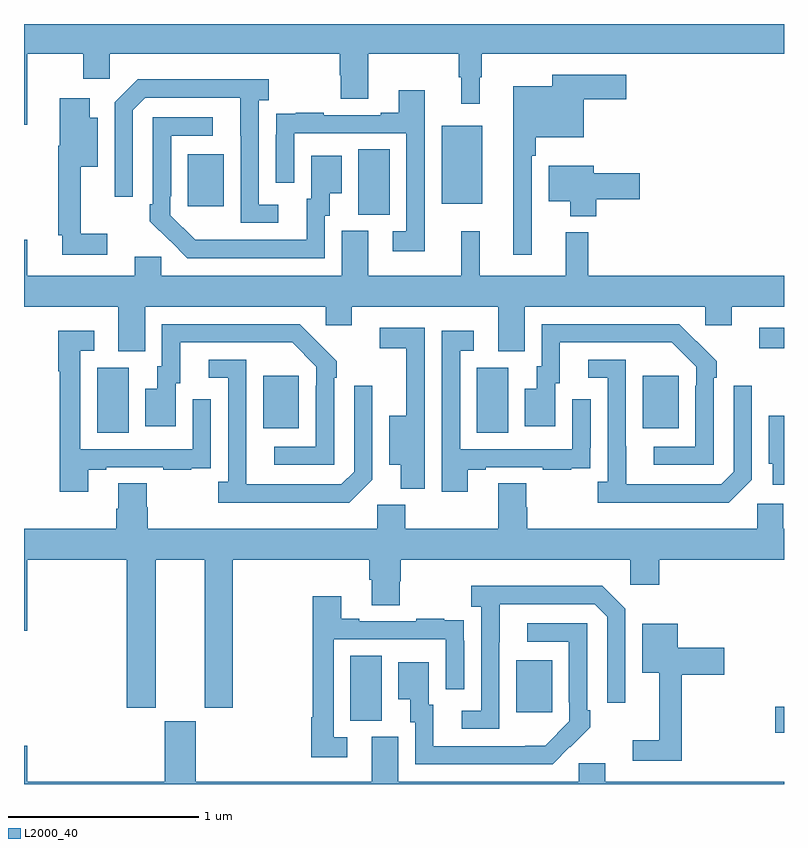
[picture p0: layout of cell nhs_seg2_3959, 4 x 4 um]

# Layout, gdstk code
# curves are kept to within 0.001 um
import gdstk
lib = gdstk.Library(unit=1e-6, precision=1e-09)
def R(c, l, rs):  # rectangles x0, y0, x1, y1
    for r in rs: c.add(gdstk.rectangle(r[:2], r[2:], *l))
def P(c, l, *ps):  # polygons
    for p in ps: c.add(gdstk.Polygon(p, *l))
L2000_40 = (2000, 40)

nhs_seg2_3959 = lib.new_cell('nhs_seg2_3959')
R(nhs_seg2_3959, L2000_40, [(324.954,636.071,325,636.206), (322.718,636.133,322.882,636.476), (323.591,636.177,323.779,636.451), (321.386,637.648,321.55,637.992), (323.384,637.648,323.548,637.992), (322.259,637.673,322.447,637.948), (324.257,637.673,324.445,637.948), (324.87,638.094,325,638.202), (322.76,638.797,322.924,639.14), (321.863,638.841,322.051,639.115), (323.198,638.855,323.413,639.265)])
P(nhs_seg2_3959, L2000_40, [(321.016,639.644),(321.311,639.644),(321.311,639.513),(321.45,639.513),(321.45,639.644),(322.661,639.644),(322.661,639.531),(322.666,639.531),(322.666,639.406),(322.813,639.406),(322.813,639.644),(323.289,639.644),(323.289,639.521),(323.3,639.521),(323.3,639.381),(323.398,639.381),(323.398,639.521),(323.41,639.521),(323.41,639.644),(325,639.644),(325,639.8),(321,639.8),(321,639.27),(321.016,639.27)],
  [(323.673,639.107),(323.693,639.107),(323.693,639.203),(323.947,639.203),(323.947,639.403),(324.169,639.403),(324.169,639.532),(323.78,639.532),(323.78,639.472),(323.576,639.472),(323.576,638.586),(323.673,638.586)],
  [(322.339,638.85),(322.236,638.85),(322.236,639.398),(322.288,639.398),(322.288,639.508),(321.598,639.508),(321.477,639.387),(321.477,638.892),(321.573,638.892),(321.573,639.345),(321.639,639.411),(322.139,639.411),(322.14,638.754),(322.339,638.754)],
  [(323.109,639.451),(322.973,639.451),(322.973,639.334),(322.877,639.334),(322.877,639.321),(322.577,639.321),(322.577,639.334),(322.429,639.334),(322.429,639.327),(322.327,639.327),(322.327,639.218),(322.326,639.218),(322.326,638.964),(322.422,638.964),(322.422,639.225),(323.013,639.225),(323.013,638.709),(322.941,638.709),(322.941,638.604),(323.109,638.604)],
  [(321.439,638.695),(321.299,638.695),(321.299,639.05),(321.388,639.05),(321.388,639.307),(321.346,639.307),(321.346,639.409),(321.188,639.409),(321.188,639.16),(321.181,639.16),(321.181,638.689),(321.2,638.689),(321.2,638.586),(321.439,638.586)],
  [(322.584,638.79),(322.609,638.79),(322.609,638.909),(322.672,638.909),(322.672,639.106),(322.511,639.106),(322.511,638.88),(322.487,638.88),(322.487,638.664),(321.9,638.665),(321.771,638.793),(321.771,638.893),(321.774,638.893),(321.774,639.213),(321.994,639.213),(321.994,639.309),(321.678,639.309),(321.678,638.851),(321.663,638.851),(321.663,638.763),(321.86,638.568),(322.584,638.568)],
  [(324.011,638.878),(324.241,638.878),(324.241,639.015),(323.998,639.015),(323.998,639.055),(323.762,639.055),(323.762,638.867),(323.876,638.867),(323.876,638.789),(324.011,638.789)],
  [(323.495,638.077),(323.635,638.077),(323.635,638.312),(324.585,638.312),(324.585,638.214),(324.724,638.214),(324.724,638.312),(325,638.312),(325,638.476),(323.969,638.476),(323.969,638.704),(323.852,638.704),(323.852,638.476),(323.399,638.476),(323.399,638.71),(323.3,638.71),(323.3,638.476),(322.813,638.476),(322.813,638.712),(322.673,638.712),(322.673,638.476),(321.723,638.476),(321.723,638.574),(321.584,638.574),(321.584,638.476),(321.016,638.476),(321.016,638.665),(321,638.665),(321,638.312),(321.497,638.312),(321.497,638.077),(321.637,638.077),(321.637,638.312),(322.587,638.312),(322.587,638.214),(322.726,638.214),(322.726,638.312),(323.495,638.312)],
  [(322.632,637.937),(322.647,637.937),(322.647,638.025),(322.45,638.22),(321.726,638.22),(321.726,637.998),(321.701,637.998),(321.701,637.879),(321.638,637.879),(321.638,637.683),(321.799,637.683),(321.799,637.908),(321.823,637.908),(321.823,638.124),(322.411,638.124),(322.539,637.995),(322.539,637.895),(322.536,637.895),(322.536,637.575),(322.317,637.575),(322.317,637.479),(322.632,637.479)],
  [(324.63,637.937),(324.645,637.937),(324.645,638.025),(324.448,638.22),(323.724,638.22),(323.724,637.998),(323.699,637.998),(323.699,637.879),(323.636,637.879),(323.636,637.683),(323.797,637.683),(323.797,637.908),(323.821,637.908),(323.821,638.124),(324.409,638.124),(324.537,637.995),(324.537,637.895),(324.534,637.895),(324.534,637.575),(324.315,637.575),(324.315,637.479),(324.63,637.479)],
  [(323.109,638.202),(322.872,638.202),(322.872,638.094),(323.012,638.094),(323.012,637.738),(322.922,637.738),(322.922,637.481),(322.982,637.481),(322.982,637.355),(323.109,637.355)],
  [(321.337,637.455),(321.433,637.455),(321.433,637.467),(321.733,637.467),(321.733,637.455),(321.881,637.455),(321.881,637.461),(321.983,637.461),(321.983,637.57),(321.984,637.57),(321.984,637.825),(321.888,637.825),(321.888,637.563),(321.297,637.563),(321.297,638.079),(321.37,638.079),(321.37,638.185),(321.181,638.185),(321.181,637.972),(321.189,637.972),(321.189,637.338),(321.337,637.338)],
  [(323.335,637.455),(323.431,637.455),(323.431,637.467),(323.731,637.467),(323.731,637.455),(323.879,637.455),(323.879,637.461),(323.981,637.461),(323.981,637.57),(323.982,637.57),(323.982,637.825),(323.886,637.825),(323.886,637.563),(323.295,637.563),(323.295,638.079),(323.368,638.079),(323.368,638.185),(323.199,638.185),(323.199,637.338),(323.335,637.338)],
  [(324.831,637.401),(324.831,637.897),(324.735,637.897),(324.735,637.443),(324.669,637.377),(324.169,637.377),(324.168,638.034),(323.97,638.034),(323.97,637.938),(324.072,637.938),(324.072,637.39),(324.021,637.39),(324.021,637.28),(324.71,637.28)],
  [(322.833,637.401),(322.833,637.897),(322.737,637.897),(322.737,637.443),(322.671,637.377),(322.171,637.377),(322.17,638.034),(321.972,638.034),(321.972,637.938),(322.074,637.938),(322.074,637.39),(322.023,637.39),(322.023,637.28),(322.712,637.28)],
  [(325,637.738),(324.92,637.738),(324.92,637.485),(324.941,637.485),(324.941,637.376),(325,637.376)],
  [(321.694,636.98),(321.95,636.98),(321.95,636.201),(322.098,636.201),(322.098,636.98),(322.817,636.98),(322.817,636.874),(322.829,636.874),(322.829,636.742),(322.977,636.742),(322.977,636.867),(322.982,636.867),(322.982,636.98),(324.192,636.98),(324.192,636.849),(324.344,636.849),(324.344,636.98),(325,636.98),(325,637.144),(324.997,637.144),(324.997,637.276),(324.858,637.276),(324.858,637.144),(323.648,637.144),(323.648,637.257),(323.643,637.257),(323.643,637.382),(323.495,637.382),(323.495,637.144),(323.007,637.144),(323.007,637.27),(322.86,637.27),(322.86,637.144),(321.65,637.144),(321.65,637.257),(321.645,637.257),(321.645,637.382),(321.497,637.382),(321.497,637.25),(321.485,637.25),(321.485,637.144),(321,637.144),(321,636.606),(321.016,636.606),(321.016,636.98),(321.542,636.98),(321.542,636.201),(321.694,636.201)],
  [(323.502,636.547),(323.503,636.747),(324.003,636.747),(324.069,636.681),(324.069,636.228),(324.165,636.228),(324.165,636.723),(324.044,636.844),(323.355,636.844),(323.355,636.734),(323.406,636.734),(323.406,636.186),(323.304,636.186),(323.304,636.09),(323.502,636.09)],
  [(322.702,636.045),(322.629,636.045),(322.629,636.561),(323.22,636.561),(323.22,636.3),(323.316,636.3),(323.316,636.554),(323.315,636.554),(323.315,636.663),(323.213,636.663),(323.213,636.67),(323.065,636.67),(323.065,636.657),(322.765,636.657),(322.765,636.67),(322.669,636.67),(322.669,636.787),(322.521,636.787),(322.521,636.152),(322.513,636.152),(322.513,635.94),(322.702,635.94)],
  [(323.873,635.995),(323.874,635.994),(323.979,636.099),(323.979,636.187),(323.964,636.187),(323.964,636.645),(323.649,636.645),(323.649,636.549),(323.868,636.549),(323.868,636.229),(323.871,636.229),(323.871,636.129),(323.743,636.001),(323.155,636),(323.155,636.216),(323.131,636.216),(323.131,636.442),(322.97,636.442),(322.97,636.245),(323.033,636.245),(323.033,636.126),(323.058,636.126),(323.058,635.904),(323.782,635.904)],
  [(324.461,636.374),(324.685,636.374),(324.685,636.516),(324.442,636.516),(324.442,636.643),(324.254,636.643),(324.254,636.386),(324.344,636.386),(324.344,636.031),(324.204,636.031),(324.204,635.922),(324.461,635.922)],
  [(325,635.812),(324.058,635.812),(324.058,635.91),(323.919,635.91),(323.919,635.812),(322.969,635.812),(322.969,636.048),(322.829,636.048),(322.829,635.812),(321.904,635.812),(321.904,636.129),(321.74,636.129),(321.74,635.812),(321.016,635.812),(321.016,636.001),(321,636.001),(321,635.8),(325,635.8)])

lib.write_gds('nhs_seg2_3959.gds')
